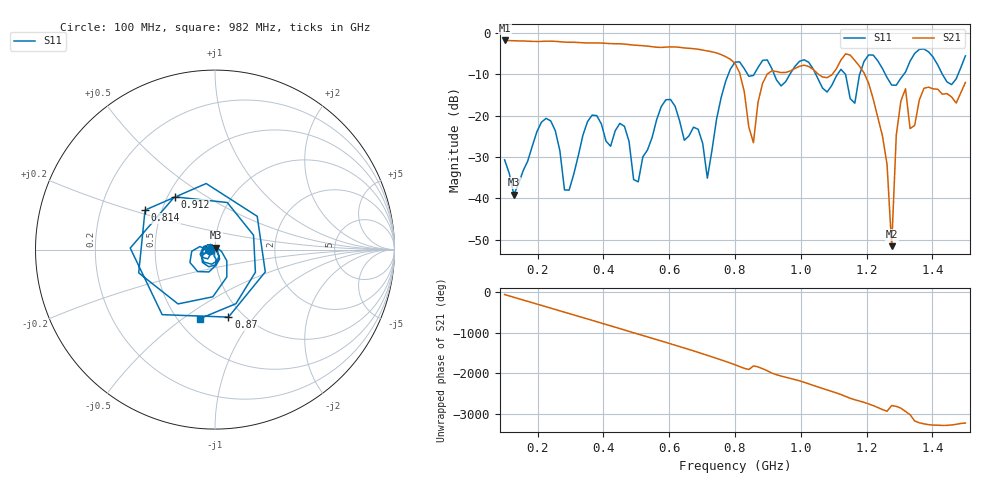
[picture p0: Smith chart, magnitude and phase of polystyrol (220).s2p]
! NanoVNA-App
! Date: 2025-09-25 15:31:36
! Start: 100MHz Stop: 1,5GHz Points: 101
! S-Parameter data: F S11 S21 S12 S22
# Hz S RI R 50
!  Frequency  S11_Real  S11_Imag  S21_Real  S21_Imag  S12_Real  S12_Imag  S22_Real  S22_Imag
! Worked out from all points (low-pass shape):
!   101 points, 100 MHz to 1.5 GHz, reference 50 ohm
!   highest |S21| = -1.80 dB at 100 MHz (marker M1); lowest = -51.6 dB at 1.276 GHz (marker M2)
!   |S21| within 3 dB of the highest: start of sweep to 743.2 MHz
!   lowest |S11| = -39.1 dB at 128 MHz (marker M3), VSWR 1.02, Z = 50.3 + j1.06 ohm
!   |S11| at or under -10 dB: start of sweep to 779.8 MHz; 1.046 GHz to 1.111 GHz (65.89 MHz wide, 6.11 % of centre); 1.136 GHz to 1.179 GHz (43.07 MHz wide, 3.72 % of centre) (the widest 3 of 7)
!   S12 and S22 are empty: the file has one direction only
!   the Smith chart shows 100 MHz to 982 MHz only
!   S11 on the Smith chart (normalised r, x): 100 MHz: 0.94, -0.01; 814 MHz: 0.40, +0.22; 870 MHz: 0.86, -0.75; 912 MHz: 0.54, +0.37; 982 MHz: 0.64, -0.58
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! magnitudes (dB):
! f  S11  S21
! 100 MHz  -30.7  -1.8
! 128 MHz  -39.1  -1.9
! 212 MHz  -21.6  -2.0
! 282 MHz  -38.0  -2.2
! 338 MHz  -24.7  -2.4
! 506 MHz  -36.0  -3.0
! 576 MHz  -17.8  -3.5
! 716 MHz  -35.1  -4.3
! 800 MHz  -7.0  -7.4
! 814 MHz  -7.0  -9.6
! 856 MHz  -10.3  -26.5
! 870 MHz  -8.3  -16.7
! 912 MHz  -8.6  -9.2
! 982 MHz  -8.1  -8.6
! 1.038 GHz  -8.8  -8.9
! 1.164 GHz  -17.0  -6.6
! 1.206 GHz  -5.3  -12.2
! 1.262 GHz  -10.8  -31.8
! 1.276 GHz  -12.6  -51.6
! 1.29 GHz  -12.6  -24.7
! 1.318 GHz  -9.5  -13.5
! 1.5 GHz  -5.5  -12.0
